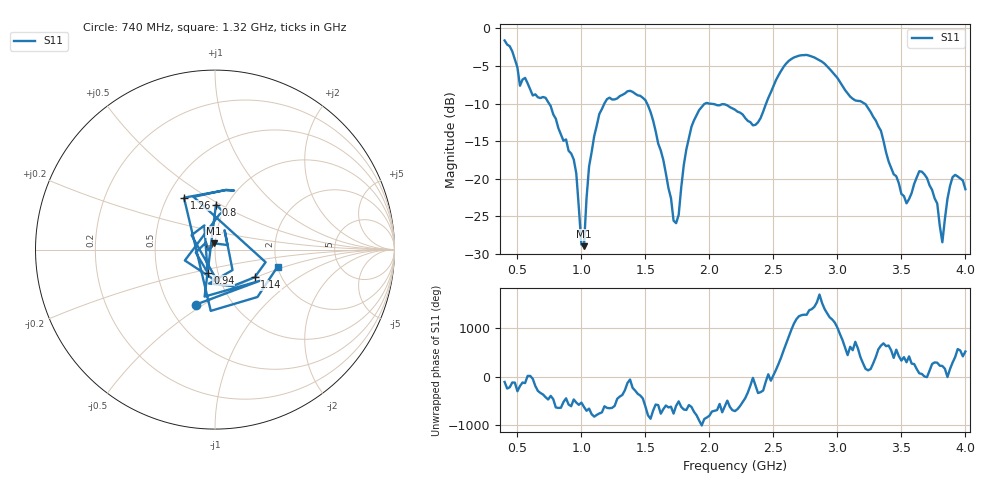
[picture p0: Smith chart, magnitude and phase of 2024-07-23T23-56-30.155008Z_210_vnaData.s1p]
!Created with skrf (http://scikit-rf.org).
# Hz S RI R 50.0
!freq ReS11 ImS11
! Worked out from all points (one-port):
!   181 points, 400 MHz to 4 GHz, reference 50 ohm
!   lowest |S11| = -29.0 dB at 1.02 GHz (marker M1), VSWR 1.07, Z = 49.3 + j3.45 ohm
!   |S11| at or under -10 dB: 1.513 GHz to 1.968 GHz (454.7 MHz wide, 26.1 % of centre); 1.998 GHz to 2.443 GHz (444.8 MHz wide, 20 % of centre); 3.212 GHz to end of sweep (the widest 3 of 4)
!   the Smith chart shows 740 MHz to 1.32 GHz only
!   S11 on the Smith chart (normalised r, x): 740 MHz: 0.68, -0.46; 800 MHz: 0.89, +0.48; 940 MHz: 0.89, -0.23; 1.14 GHz: 1.47, -0.49; 1.26 GHz: 0.61, +0.40; 1.32 GHz: 2.00, -0.44
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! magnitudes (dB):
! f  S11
! 400 MHz  -1.6
! 520 MHz  -7.6
! 740 MHz  -9.8
! 800 MHz  -12.0
! 860 MHz  -15.0
! 940 MHz  -17.4
! 1 GHz  -28.8
! 1.02 GHz  -29.0
! 1.06 GHz  -18.4
! 1.14 GHz  -11.4
! 1.26 GHz  -9.4
! 1.3 GHz  -9.0
! 1.32 GHz  -8.8
! 1.52 GHz  -10.2
! 1.72 GHz  -25.6
! 1.76 GHz  -24.8
! 1.82 GHz  -16.1
! 1.92 GHz  -10.9
! 2.2 GHz  -10.8
! 2.36 GHz  -12.8
! 2.66 GHz  -3.9
! 3.1 GHz  -9.1
! 3.3 GHz  -12.3
! 3.56 GHz  -22.7
! 3.68 GHz  -19.4
! 3.82 GHz  -28.5
! 3.9 GHz  -19.8
! 4 GHz  -21.4
